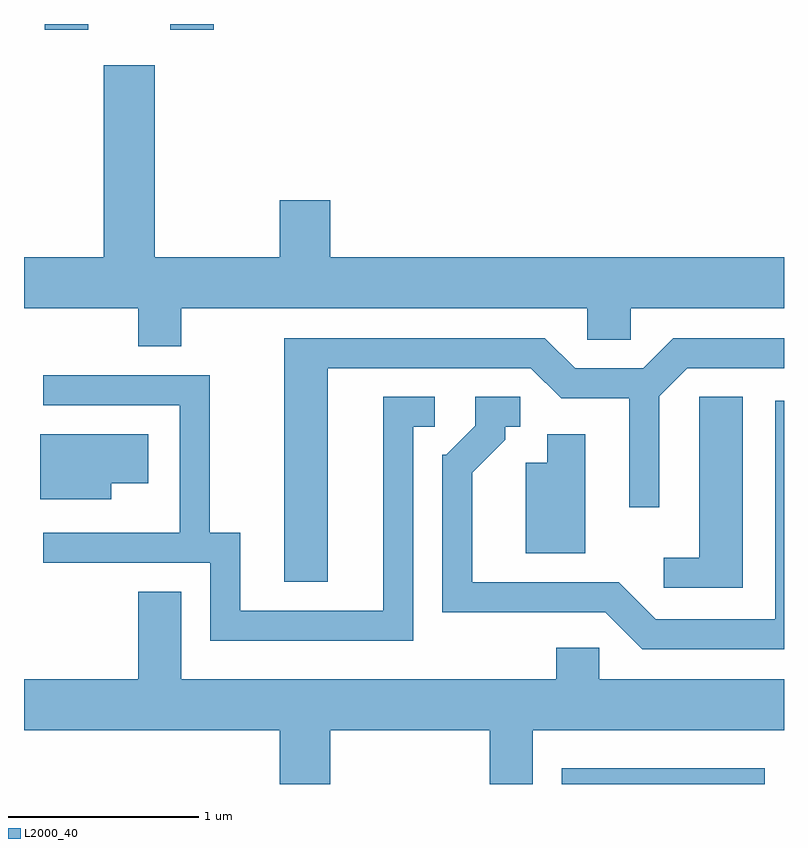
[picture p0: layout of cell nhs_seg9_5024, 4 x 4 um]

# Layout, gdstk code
import gdstk
lib = gdstk.Library(unit=1e-6, precision=1e-09)
def R(c, l, rs):  # rectangles x0, y0, x1, y1
    for r in rs: c.add(gdstk.rectangle(r[:2], r[2:], *l))
def P(c, l, *ps):  # polygons
    for p in ps: c.add(gdstk.Polygon(p, *l))
L2000_40 = (2000, 40)

nhs_seg9_5024 = lib.new_cell('nhs_seg9_5024')
R(nhs_seg9_5024, L2000_40, [(336.441,1980.432,337.509,1980.514), (333.721,1984.401,333.949,1984.432), (334.381,1984.401,334.609,1984.432)])
P(nhs_seg9_5024, L2000_40, [(334.439,1982.936),(336.576,1982.936),(336.576,1982.771),(336.804,1982.771),(336.804,1982.936),(337.611,1982.936),(337.611,1983.204),(335.224,1983.204),(335.224,1983.504),(334.956,1983.504),(334.956,1983.204),(334.299,1983.204),(334.299,1984.214),(334.031,1984.214),(334.031,1983.204),(333.611,1983.204),(333.611,1982.936),(334.211,1982.936),(334.211,1982.736),(334.439,1982.736)],
  [(335.209,1982.621),(336.279,1982.621),(336.439,1982.461),(336.796,1982.461),(336.796,1981.888),(336.954,1981.888),(336.954,1982.474),(337.102,1982.621),(337.611,1982.621),(337.611,1982.779),(337.029,1982.779),(336.869,1982.619),(336.512,1982.619),(336.352,1982.779),(334.981,1982.779),(334.981,1981.496),(335.209,1981.496)],
  [(335.659,1982.311),(335.773,1982.311),(335.773,1982.469),(335.501,1982.469),(335.501,1981.344),(334.749,1981.344),(334.749,1981.754),(334.589,1981.754),(334.589,1982.584),(333.713,1982.584),(333.713,1982.426),(334.431,1982.426),(334.431,1981.754),(333.713,1981.754),(333.713,1981.596),(334.591,1981.596),(334.591,1981.186),(335.659,1981.186)],
  [(337.394,1982.469),(337.166,1982.469),(337.166,1981.624),(336.978,1981.624),(336.978,1981.466),(337.394,1981.466)],
  [(337.611,1982.449),(337.566,1982.449),(337.566,1981.299),(336.937,1981.299),(336.742,1981.494),(335.969,1981.494),(335.969,1982.069),(336.144,1982.244),(336.144,1982.311),(336.223,1982.311),(336.223,1982.469),(335.986,1982.469),(335.986,1982.317),(335.834,1982.164),(335.811,1982.164),(335.811,1981.336),(336.669,1981.336),(336.864,1981.141),(337.611,1981.141)],
  [(334.069,1982.016),(334.264,1982.016),(334.264,1982.274),(333.696,1982.274),(333.696,1981.931),(334.069,1981.931)],
  [(336.564,1982.274),(336.366,1982.274),(336.366,1982.124),(336.251,1982.124),(336.251,1981.646),(336.564,1981.646)],
  [(335.224,1980.716),(336.061,1980.716),(336.061,1980.432),(336.289,1980.432),(336.289,1980.716),(337.611,1980.716),(337.611,1980.984),(336.639,1980.984),(336.639,1981.149),(336.411,1981.149),(336.411,1980.984),(334.439,1980.984),(334.439,1981.444),(334.211,1981.444),(334.211,1980.984),(333.611,1980.984),(333.611,1980.716),(334.956,1980.716),(334.956,1980.432),(335.224,1980.432)])

lib.write_gds('nhs_seg9_5024.gds')
